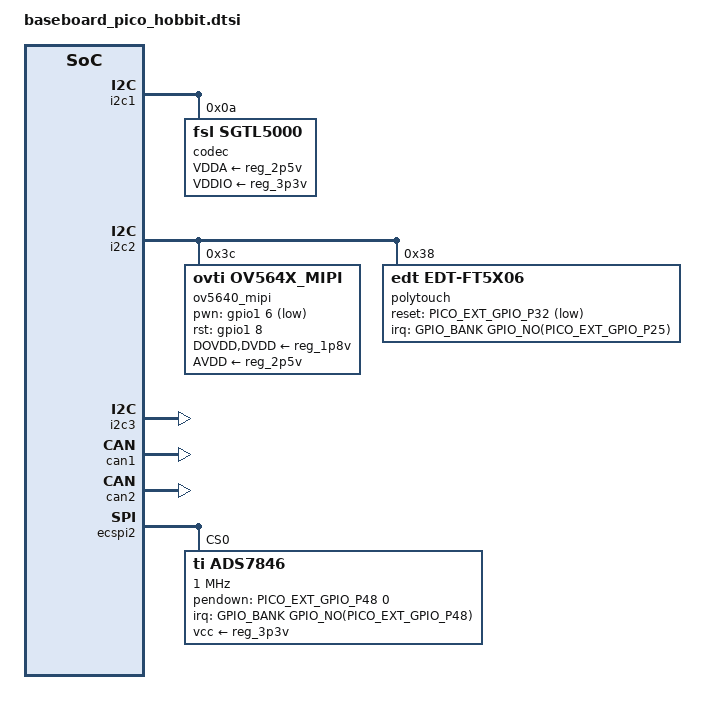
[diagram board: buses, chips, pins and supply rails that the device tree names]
/*
 * Copyright 2016 Technexion Ltd.
 *
 * Author: Wig Cheng <wig.cheng@technexion.com>
 *	   Richard Hu <richard.hu@technexion.com>
 *	   Tapani Utriainen <tapani@technexion.com>
 *
 * This program is free software; you can redistribute it and/or modify
 * it under the terms of the GNU General Public License version 2 as
 * published by the Free Software Foundation.
 *
 */

#include <tnmacro.h>

/ {
	gpio-edm {
		compatible = "gpio-edm";
/* custom GPIO may be from GPIO expander on CPU module */
#ifdef PICO_EXT_GPIO_IOMUX_HOBBIT
		pinctrl-names = "default";
		pinctrl-0 = <PICO_EXT_GPIO_IOMUX_HOBBIT>;
#endif
		gpio_p24 {
			label = "GPIO_P24";
			gpios = <&PICO_EXT_GPIO_P24 1>;
			dir   = "in";
		};
		gpio_p26 {
			label = "GPIO_P26";
			gpios = <&PICO_EXT_GPIO_P26 1>;
			dir   = "in";
		};
		gpio_p28 {
			label = "GPIO_P28";
			gpios = <&PICO_EXT_GPIO_P28 1>;
			dir   = "in";
		};
		gpio_p30 {
			label = "GPIO_P30";
			gpios = <&PICO_EXT_GPIO_P30 1>;
			dir   = "in";
		};
		gpio_p34 {
			label = "GPIO_P34";
			gpios = <&PICO_EXT_GPIO_P34 1>;
			dir   = "in";
		};
	};

	sound {
		compatible = "fsl,imx-sgtl5000",
			     "fsl,imx-audio-sgtl5000";
		model = "audio-sgtl5000";
		ssi-controller = <&PICO_AUD_I2S_CHANNEL>;
		audio-codec = <&codec>;
		audio-routing =
			"MIC_IN", "Mic Jack",
			"Mic Jack", "Mic Bias",
			"Headphone Jack", "HP_OUT";
		mux-int-port = <PICO_AUD_MUX_INT>;
		mux-ext-port = <PICO_AUD_MUX_EXT>;
	};
};

&i2c1 {
	status = "okay";
	codec: sgtl5000@0a {
		compatible = "fsl,sgtl5000";
		reg = <0x0a>;
		clocks = <&PICO_AUD_CLK_SRC>;
		VDDA-supply = <&reg_2p5v>;
		VDDIO-supply = <&reg_3p3v>;
	};
};

&i2c2 {
	status = "okay";

	ov5640_mipi: ov5640_mipi@3c {
		compatible = "ovti,ov564x_mipi";
		reg = <0x3c>;
		clocks = <&clks 200>;
		clock-names = "csi_mclk";
		DOVDD-supply = <&reg_1p8v>;
		AVDD-supply = <&reg_2p5v>;
		DVDD-supply = <&reg_1p8v>;
		pwn-gpios = <&gpio1 6 1>;
		rst-gpios = <&gpio1 8 0>;
		ipu_id = <0>;
		csi_id = <0>;
		mclk = <24000000>;
		mclk_source = <0>;
	};

	polytouch: edt-ft5x06@38 {
		compatible = "edt,edt-ft5x06";
		reg = <0x38>;
		pinctrl-names = "default";
		pinctrl-0 = <PICO_EXT_FT5X06_IOMUX_HOBBIT>; /* Touch IRQ and Touch Reset */
		interrupt-parent = <&GPIO_BANK(PICO_EXT_GPIO_P25)>; /* GPIO_P42 */
		interrupts = <GPIO_NO(PICO_EXT_GPIO_P25) 0>;
		reset-gpios = <&PICO_EXT_GPIO_P32 GPIO_ACTIVE_LOW>; /* GPIO_P32 */
		touchscreen-size-x = <800>;
		touchscreen-size-y = <480>;
	};
};

&i2c3 {
	status = "okay";
};

&can1 {
	status = "okay";
};

&can2 {
	status = "okay";
};

&ecspi2 {
	status = "okay";

	ads7846@0 {
		reg = <0>;  /* CS0 */
		compatible = "ti,ads7846";
#ifdef PICO_EXT_ADS7846_IOMUX_HOBBIT
		pinctrl-names = "default";
		pinctrl-0 = <PICO_EXT_ADS7846_IOMUX_HOBBIT>;
#endif
		interrupt-parent = <&GPIO_BANK(PICO_EXT_GPIO_P48)>; /* GPIO_P263 J1B-263 */
		interrupts = <GPIO_NO(PICO_EXT_GPIO_P48) 0>;
		spi-max-frequency = <1000000>;
		pendown-gpio = <&PICO_EXT_GPIO_P48 0>; /* GPIO_P263 J1B-263 */
		vcc-supply = <&reg_3p3v>;

		ti,x-min = /bits/ 16 <0>;
		ti,x-max = /bits/ 16 <4095>;
		ti,y-min = /bits/ 16 <0>;
		ti,y-max = /bits/ 16 <4095>;
		ti,pressure-max = /bits/ 16 <1024>;
		ti,x-plate-ohms = /bits/ 16 <90>;
		ti,y-plate-ohms = /bits/ 16 <90>;
		ti,debounce-max = /bits/ 16 <70>;
		ti,debounce-tol = /bits/ 16 <3>;
		ti,debounce-rep = /bits/ 16 <2>;
		ti,settle-delay-usec = /bits/ 16 <150>;

		linux,wakeup;
	};
};

